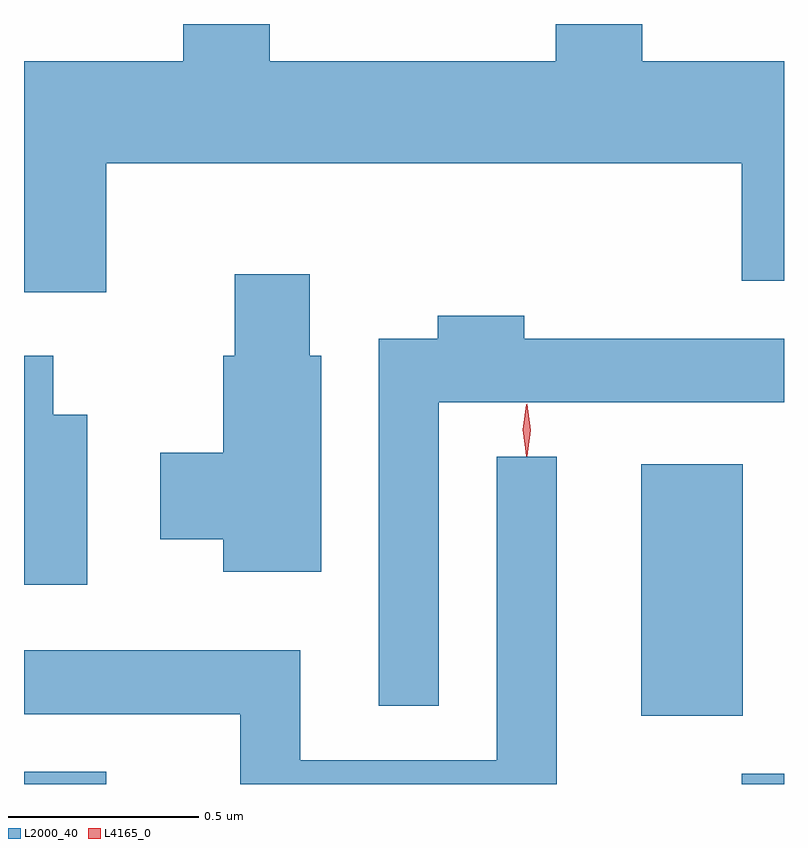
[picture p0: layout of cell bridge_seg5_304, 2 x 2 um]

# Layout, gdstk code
import gdstk
lib = gdstk.Library(unit=1e-6, precision=1e-09)
def R(c, l, rs):  # rectangles x0, y0, x1, y1
    for r in rs: c.add(gdstk.rectangle(r[:2], r[2:], *l))
def P(c, l, *ps):  # polygons
    for p in ps: c.add(gdstk.Polygon(p, *l))
L2000_40 = (2000, 40)
L4165_0 = (4165, 0)

bridge_seg5_304 = lib.new_cell('bridge_seg5_304')
R(bridge_seg5_304, L2000_40, [(696.482,1515.102,696.699,1515.134), (698.371,1515.102,698.482,1515.129), (698.106,1515.281,698.374,1515.944)])
P(bridge_seg5_304, L2000_40, [(698.371,1516.426),(698.482,1516.426),(698.482,1517.004),(698.109,1517.004),(698.109,1517.102),(697.881,1517.102),(697.881,1517.004),(697.129,1517.004),(697.129,1517.102),(696.901,1517.102),(696.901,1517.004),(696.482,1517.004),(696.482,1516.396),(696.699,1516.396),(696.699,1516.736),(698.371,1516.736)],
  [(697.264,1516.229),(697.234,1516.229),(697.234,1516.444),(697.036,1516.444),(697.036,1516.229),(697.006,1516.229),(697.006,1515.974),(696.841,1515.974),(696.841,1515.746),(697.006,1515.746),(697.006,1515.661),(697.264,1515.661)],
  [(697.574,1516.106),(698.482,1516.106),(698.482,1516.274),(697.799,1516.274),(697.799,1516.334),(697.571,1516.334),(697.571,1516.274),(697.416,1516.274),(697.416,1515.308),(697.574,1515.308)],
  [(696.649,1516.074),(696.559,1516.074),(696.559,1516.229),(696.482,1516.229),(696.482,1515.626),(696.649,1515.626)],
  [(697.884,1515.963),(697.726,1515.963),(697.726,1515.164),(697.209,1515.164),(697.209,1515.454),(696.482,1515.454),(696.482,1515.286),(697.051,1515.286),(697.051,1515.102),(697.884,1515.102)])
P(bridge_seg5_304, L4165_0, [(697.804,1515.964),(697.796,1516.033),(697.806,1516.102),(697.806,1516.103),(697.806,1516.102),(697.816,1516.033),(697.806,1515.964),(697.805,1515.964)],
  [(697.804,1515.967),(697.804,1515.967),(697.794,1516.034),(697.804,1516.1),(697.804,1516.101),(697.805,1516.1),(697.814,1516.034),(697.805,1515.967)])

lib.write_gds('bridge_seg5_304.gds')
